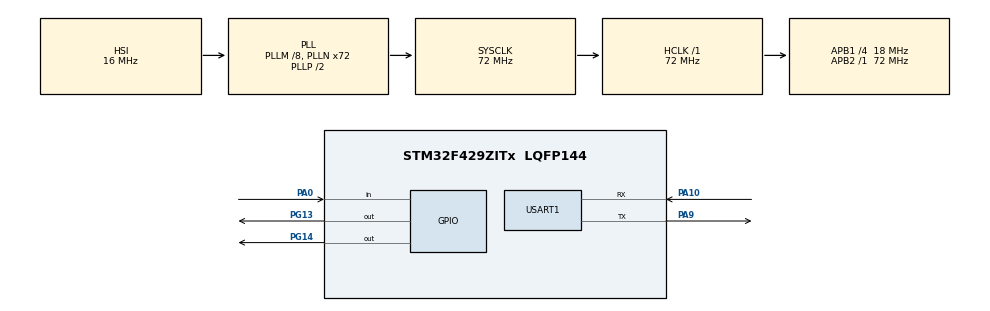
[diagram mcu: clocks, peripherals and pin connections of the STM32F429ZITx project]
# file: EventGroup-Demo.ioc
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FREERTOS.Tasks01=defaultTask,24,128,StartDefaultTask,Default,NULL,Dynamic,NULL,NULL
Mcu.Family=STM32F4
Mcu.Name=STM32F429ZITx
Mcu.Package=LQFP144
NVIC.PriorityGroup=NVIC_PRIORITYGROUP_4
PA0/WKUP.GPIO_PuPd=GPIO_PULLDOWN
PA0/WKUP.Signal=GPIO_Input
PA10.Mode=Asynchronous
PA10.Signal=USART1_RX
PA9.Mode=Asynchronous
PA9.Signal=USART1_TX
PG13.Signal=GPIO_Output
PG14.Signal=GPIO_Output
ProjectManager.HeapSize=0x200
ProjectManager.StackSize=0x400
ProjectManager.TargetToolchain=STM32CubeIDE
RCC.48MHZClocksFreq_Value=48000000
RCC.AHBFreq_Value=72000000
RCC.APB1CLKDivider=RCC_HCLK_DIV4
RCC.APB1Freq_Value=18000000
RCC.APB1TimFreq_Value=36000000
RCC.APB2Freq_Value=72000000
RCC.APB2TimFreq_Value=72000000
RCC.CortexFreq_Value=72000000
RCC.HCLKFreq_Value=72000000
RCC.HSE_VALUE=8000000
RCC.HSI_VALUE=16000000
RCC.LSE_VALUE=32768
RCC.PLLM=8
RCC.PLLN=72
RCC.PLLQ=3
RCC.PLLSAIN=50
RCC.SYSCLKFreq_VALUE=72000000
RCC.SYSCLKSource=RCC_SYSCLKSOURCE_PLLCLK
RCC.VCOOutputFreq_Value=144000000
USART1.VirtualMode=VM_ASYNC
VP_FREERTOS_VS_CMSIS_V2.Mode=CMSIS_V2
board=STM32F429I-DISC1

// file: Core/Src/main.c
/* USER CODE BEGIN Header */
/**
  ******************************************************************************
  * @file           : main.c
  * @brief          : Main program body
  ******************************************************************************
  * @attention
  *
  * Copyright (c) 2025 STMicroelectronics.
  * All rights reserved.
  *
  * This software is licensed under terms that can be found in the LICENSE file
  * in the root directory of this software component.
  * If no LICENSE file comes with this software, it is provided AS-IS.
  *
  ******************************************************************************
  */
/* USER CODE END Header */
#include "main.h"

/* USER CODE BEGIN PM */
/* Event bits definitions */
#define EVENT_BIT_0     (1UL << 0)  /* Event from Task 1 */
#define EVENT_BIT_1     (1UL << 1)  /* Event from Task 2 */
#define EVENT_BIT_2     (1UL << 2)  /* Event from Task 3 */
#define EVENT_BIT_BUTTON (1UL << 3) /* Event from Button */
/* USER CODE END PM */

UART_HandleTypeDef huart1;

/* Definitions for defaultTask */

/* USER CODE BEGIN PV */
/* Event Group handle */
EventGroupHandle_t xEventGroup;

/* Counters */
static volatile uint32_t ulEventsSet = 0;
static volatile uint32_t ulEventsWaited = 0;

/* USER CODE END PV */

void SystemClock_Config(void);
static void MX_GPIO_Init(void);
static void MX_USART1_UART_Init(void);
void StartDefaultTask(void *argument);

/* USER CODE BEGIN PFP */
/* Function prototypes */
static void EventSetterTask(void *pvParameters);
static void EventWaiterTask(void *pvParameters);
static void ButtonTask(void *pvParameters);
/* USER CODE END PFP */

/* USER CODE BEGIN 0 */
int _write(int file, char *data, int len)
{
    HAL_UART_Transmit(&huart1, (uint8_t*)data, len, HAL_MAX_DELAY);
    return len;
}
/* USER CODE END 0 */

int main(void)
{

  /* MCU Configuration--------------------------------------------------------*/

  /* Reset of all peripherals, Initializes the Flash interface and the Systick. */
  HAL_Init();

  /* Configure the system clock */
  SystemClock_Config();

  /* Initialize all configured peripherals */
  MX_GPIO_Init();
  MX_USART1_UART_Init();
  /* USER CODE BEGIN 2 */
  /* Create the event group */
   xEventGroup = xEventGroupCreate();

   if (xEventGroup != NULL) {
       printf("Event Group created successfully.\r\n");
  /* USER CODE END 2 */

  /* Init scheduler */

  /* Create the thread(s) */
  /* creation of defaultTask */

  /* USER CODE BEGIN RTOS_THREADS */
  /* add threads, ... */
  printf("=== FreeRTOS Event Group Demonstration ===\r\n");
      printf("STM32F429I Discovery Board\r\n");

          /* Create event setter tasks */
          xTaskCreate(
              EventSetterTask,        /* Task function */
              "Setter1",              /* Task name */
              configMINIMAL_STACK_SIZE, /* Stack size */
              (void*)EVENT_BIT_0,     /* Parameters: Event Bit 0 */
              tskIDLE_PRIORITY + 1,   /* Task priority */
              NULL                    /* Task handle */
          );

          xTaskCreate(
              EventSetterTask,        /* Task function */
              "Setter2",              /* Task name */
              configMINIMAL_STACK_SIZE, /* Stack size */
              (void*)EVENT_BIT_1,     /* Parameters: Event Bit 1 */
              tskIDLE_PRIORITY + 1,   /* Task priority */
              NULL                    /* Task handle */
          );

          xTaskCreate(
              EventSetterTask,        /* Task function */
              "Setter3",              /* Task name */
              configMINIMAL_STACK_SIZE, /* Stack size */
              (void*)EVENT_BIT_2,     /* Parameters: Event Bit 2 */
              tskIDLE_PRIORITY + 1,   /* Task priority */
              NULL                    /* Task handle */
          );

          /* Create event waiter task */
          xTaskCreate(
              EventWaiterTask,        /* Task function */
              "Waiter",               /* Task name */
              configMINIMAL_STACK_SIZE, /* Stack size */
              NULL,                   /* Parameters to pass to the task */
              tskIDLE_PRIORITY + 2,   /* Higher priority for waiting */
              NULL                    /* Task handle */
          );

          /* Create button task */
          xTaskCreate(
              ButtonTask,             /* Task function */
              "Button",               /* Task name */
              configMINIMAL_STACK_SIZE, /* Stack size */
              NULL,                   /* Parameters to pass to the task */
              tskIDLE_PRIORITY + 2,   /* Higher priority for button */
              NULL                    /* Task handle */
          );

          printf("All tasks created. Starting scheduler...\r\n");

          /* Start the scheduler */
          vTaskStartScheduler();
      } else {
          printf("Failed to create event group. Out of memory?\r\n");
      }
  /* USER CODE END RTOS_THREADS */

  /* Start scheduler */

  /* We should never get here as control is now taken by the scheduler */

  /* Infinite loop */
  while (1)
  {

  }
}

void SystemClock_Config(void)
{
  RCC_OscInitTypeDef RCC_OscInitStruct = {0};
  RCC_ClkInitTypeDef RCC_ClkInitStruct = {0};

  /** Configure the main internal regulator output voltage
  */
  __HAL_RCC_PWR_CLK_ENABLE();
  __HAL_PWR_VOLTAGESCALING_CONFIG(PWR_REGULATOR_VOLTAGE_SCALE3);

  /** Initializes the RCC Oscillators according to the specified parameters
  * in the RCC_OscInitTypeDef structure.
  */
  RCC_OscInitStruct.OscillatorType = RCC_OSCILLATORTYPE_HSI;
  RCC_OscInitStruct.HSIState = RCC_HSI_ON;
  RCC_OscInitStruct.HSICalibrationValue = RCC_HSICALIBRATION_DEFAULT;
  RCC_OscInitStruct.PLL.PLLState = RCC_PLL_ON;
  RCC_OscInitStruct.PLL.PLLSource = RCC_PLLSOURCE_HSI;
  RCC_OscInitStruct.PLL.PLLM = 8;
  RCC_OscInitStruct.PLL.PLLN = 72;
  RCC_OscInitStruct.PLL.PLLP = RCC_PLLP_DIV2;
  RCC_OscInitStruct.PLL.PLLQ = 3;
  if (HAL_RCC_OscConfig(&RCC_OscInitStruct) != HAL_OK)
  {
    Error_Handler();
  }

  /** Initializes the CPU, AHB and APB buses clocks
  */
  RCC_ClkInitStruct.ClockType = RCC_CLOCKTYPE_HCLK|RCC_CLOCKTYPE_SYSCLK
                              |RCC_CLOCKTYPE_PCLK1|RCC_CLOCKTYPE_PCLK2;
  RCC_ClkInitStruct.SYSCLKSource = RCC_SYSCLKSOURCE_PLLCLK;
  RCC_ClkInitStruct.AHBCLKDivider = RCC_SYSCLK_DIV1;
  RCC_ClkInitStruct.APB1CLKDivider = RCC_HCLK_DIV4;
  RCC_ClkInitStruct.APB2CLKDivider = RCC_HCLK_DIV1;

  if (HAL_RCC_ClockConfig(&RCC_ClkInitStruct, FLASH_LATENCY_2) != HAL_OK)
  {
    Error_Handler();
  }
}

static void MX_USART1_UART_Init(void)
{

  huart1.Instance = USART1;
  huart1.Init.BaudRate = 115200;
  huart1.Init.WordLength = UART_WORDLENGTH_8B;
  huart1.Init.StopBits = UART_STOPBITS_1;
  huart1.Init.Parity = UART_PARITY_NONE;
  huart1.Init.Mode = UART_MODE_TX_RX;
  huart1.Init.HwFlowCtl = UART_HWCONTROL_NONE;
  huart1.Init.OverSampling = UART_OVERSAMPLING_16;
  if (HAL_UART_Init(&huart1) != HAL_OK)
  {
    Error_Handler();
  }

}

static void MX_GPIO_Init(void)
{
  GPIO_InitTypeDef GPIO_InitStruct = {0};

  /* GPIO Ports Clock Enable */
  __HAL_RCC_GPIOA_CLK_ENABLE();
  __HAL_RCC_GPIOG_CLK_ENABLE();

  /*Configure GPIO pin Output Level */
  HAL_GPIO_WritePin(GPIOG, GPIO_PIN_13|GPIO_PIN_14, GPIO_PIN_RESET);

  /*Configure GPIO pin : PA0 */
  GPIO_InitStruct.Pin = GPIO_PIN_0;
  GPIO_InitStruct.Mode = GPIO_MODE_INPUT;
  GPIO_InitStruct.Pull = GPIO_PULLDOWN;
  HAL_GPIO_Init(GPIOA, &GPIO_InitStruct);

  /*Configure GPIO pins : PG13 PG14 */
  GPIO_InitStruct.Pin = GPIO_PIN_13|GPIO_PIN_14;
  GPIO_InitStruct.Mode = GPIO_MODE_OUTPUT_PP;
  GPIO_InitStruct.Pull = GPIO_NOPULL;
  GPIO_InitStruct.Speed = GPIO_SPEED_FREQ_LOW;
  HAL_GPIO_Init(GPIOG, &GPIO_InitStruct);

}

/* USER CODE BEGIN 4 */
/**
 * @brief Event Setter Task - Sets a specific event bit in the event group
 * @param pvParameters: Task parameters (event bit to set)
 */
static void EventSetterTask(void *pvParameters)
{
    const EventBits_t xEventBitToSet = (EventBits_t)pvParameters;
    char pcTaskName[20];

    sprintf(pcTaskName, "Setter%lu", (uint32_t)log2(xEventBitToSet) + 1);
    printf("%s: Started - setting event bit 0x%lx\r\n", pcTaskName, xEventBitToSet);

    for (;;) {
        vTaskDelay(pdMS_TO_TICKS(2000 + (xEventBitToSet * 100))); /* Vary delay slightly */

        /* Set the event bit */
        xEventGroupSetBits(xEventGroup, xEventBitToSet);
        ulEventsSet++;
        printf("%s: Set event bit 0x%lx (Total set: %lu)\r\n", pcTaskName, xEventBitToSet, ulEventsSet);

        /* Toggle LED based on task */
        if (xEventBitToSet == EVENT_BIT_0) {
        	HAL_GPIO_TogglePin(GPIOG, GPIO_PIN_13);
        } else if (xEventBitToSet == EVENT_BIT_1) {
        	HAL_GPIO_TogglePin(GPIOG, GPIO_PIN_14);
        }
    }
}

/**
 * @brief Event Waiter Task - Waits for a combination of event bits
 * @param pvParameters: Task parameters (unused)
 */
static void EventWaiterTask(void *pvParameters)
{
    (void)pvParameters; /* Suppress unused parameter warning */
    const EventBits_t xBitsToWaitFor = EVENT_BIT_0 | EVENT_BIT_1 | EVENT_BIT_2 | EVENT_BIT_BUTTON;
    EventBits_t xReceivedEvents;

    printf("Waiter Task: Started - waiting for events 0x%lx\r\n", xBitsToWaitFor);

    for (;;) {
        /* Wait for all specified bits to be set. Clear them on exit. */
        xReceivedEvents = xEventGroupWaitBits(
                                xEventGroup,        /* The event group being tested. */
                                xBitsToWaitFor,     /* The bits to wait for. */
                                pdTRUE,             /* Clear bits before returning. */
                                pdTRUE,             /* Wait for all bits to be set. */
                                portMAX_DELAY );    /* Wait indefinitely. */

        if ((xReceivedEvents & xBitsToWaitFor) == xBitsToWaitFor) {
            ulEventsWaited++;
            printf("Waiter: ALL required events (0x%lx) received! (Total waited: %lu)\r\n",
                   xReceivedEvents, ulEventsWaited);

            /* Indicate success with LEDs */
            HAL_GPIO_TogglePin(GPIOG, GPIO_PIN_13);
            HAL_GPIO_TogglePin(GPIOG, GPIO_PIN_14);
            HAL_Delay(500);
            HAL_GPIO_TogglePin(GPIOG, GPIO_PIN_13);
            HAL_GPIO_TogglePin(GPIOG, GPIO_PIN_14);
        } else {
            printf("Waiter: Received events 0x%lx, but not all required bits (0x%lx) were set.\r\n",
                   xReceivedEvents, xBitsToWaitFor);
        }
    }
}

/**
 * @brief Button Task - Sets a specific event bit when button is pressed
 * @param pvParameters: Task parameters (unused)
 */
static void ButtonTask(void *pvParameters)
{
    (void)pvParameters; /* Suppress unused parameter warning */

    printf("Button Task: Started - Press button to set EVENT_BIT_BUTTON\r\n");

    for (;;) {
        /* Check if button is pressed */
        if (HAL_GPIO_ReadPin(GPIOA, GPIO_PIN_0) == GPIO_PIN_SET) {
            /* Set the button event bit */
            xEventGroupSetBits(xEventGroup, EVENT_BIT_BUTTON);
            ulEventsSet++;
            printf("Button: Set EVENT_BIT_BUTTON (0x%lx) (Total set: %lu)\r\n",
                   EVENT_BIT_BUTTON, ulEventsSet);

            /* Wait for button release */
            while (HAL_GPIO_ReadPin(GPIOA, GPIO_PIN_0) == GPIO_PIN_SET) {
                vTaskDelay(pdMS_TO_TICKS(10));
            }
        }

        vTaskDelay(pdMS_TO_TICKS(50));
    }
}

/* USER CODE END 4 */

void StartDefaultTask(void *argument)
{
  for(;;)
  {
  }
}

void Error_Handler(void)
{
  __disable_irq();
  while (1)
  {
  }
}
